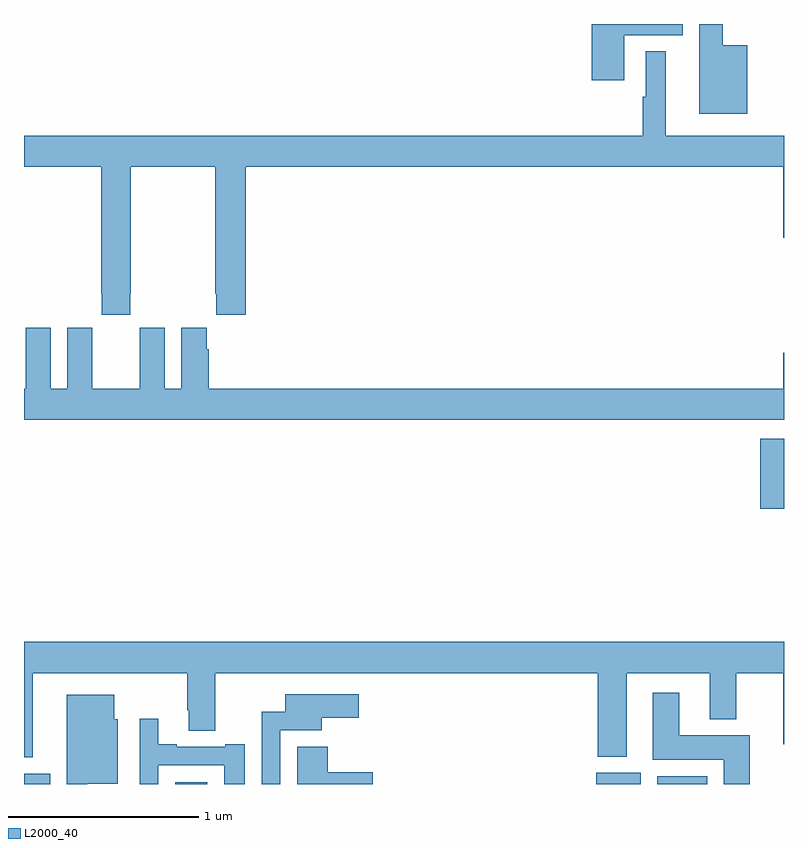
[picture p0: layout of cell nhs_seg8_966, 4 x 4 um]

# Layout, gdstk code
import gdstk
lib = gdstk.Library(unit=1e-6, precision=1e-09)
def R(c, l, rs):  # rectangles x0, y0, x1, y1
    for r in rs: c.add(gdstk.rectangle(r[:2], r[2:], *l))
def P(c, l, *ps):  # polygons
    for p in ps: c.add(gdstk.Polygon(p, *l))
L2000_40 = (2000, 40)

nhs_seg8_966 = lib.new_cell('nhs_seg8_966')
R(nhs_seg8_966, L2000_40, [(173,1131.9,173.137,1131.955), (173.795,1131.9,173.965,1131.91), (176.012,1131.9,176.245,1131.958), (176.333,1131.9,176.596,1131.94), (176.876,1133.348,177,1133.716)])
P(nhs_seg8_966, L2000_40, [(176.806,1135.789),(176.677,1135.789),(176.677,1135.9),(176.555,1135.9),(176.555,1135.427),(176.806,1135.427)],
  [(176.158,1135.841),(176.467,1135.841),(176.467,1135.9),(175.988,1135.9),(175.988,1135.605),(176.158,1135.605)],
  [(173.559,1134.481),(173.562,1134.481),(173.562,1135.148),(174.007,1135.148),(174.007,1134.481),(174.013,1134.481),(174.013,1134.369),(174.167,1134.369),(174.167,1135.148),(176.996,1135.148),(176.996,1134.774),(177,1134.774),(177,1135.312),(176.377,1135.312),(176.377,1135.756),(176.273,1135.756),(176.273,1135.517),(176.256,1135.517),(176.256,1135.312),(173,1135.312),(173,1135.148),(173.407,1135.148),(173.407,1134.481),(173.409,1134.481),(173.409,1134.369),(173.559,1134.369)],
  [(177,1134.169),(176.996,1134.169),(176.996,1133.98),(173.972,1133.98),(173.972,1134.188),(173.962,1134.188),(173.962,1134.301),(173.828,1134.301),(173.828,1133.98),(173.74,1133.98),(173.74,1134.301),(173.61,1134.301),(173.61,1134.188),(173.609,1134.188),(173.609,1133.98),(173.359,1133.98),(173.359,1134.188),(173.358,1134.188),(173.358,1134.301),(173.228,1134.301),(173.228,1133.98),(173.14,1133.98),(173.14,1134.301),(173.01,1134.301),(173.01,1134.188),(173.009,1134.188),(173.009,1133.98),(173,1133.98),(173,1133.816),(177,1133.816)],
  [(173.047,1132.484),(173.86,1132.484),(173.86,1132.288),(173.867,1132.288),(173.867,1132.18),(174.007,1132.18),(174.007,1132.484),(176.021,1132.484),(176.021,1132.043),(176.173,1132.043),(176.173,1132.484),(176.609,1132.484),(176.609,1132.241),(176.749,1132.241),(176.749,1132.484),(176.996,1132.484),(176.996,1132.11),(177,1132.11),(177,1132.648),(173,1132.648),(173,1132.04),(173.047,1132.04)],
  [(176.819,1132.156),(176.449,1132.156),(176.449,1132.381),(176.309,1132.381),(176.309,1132.028),(176.684,1132.028),(176.684,1131.9),(176.819,1131.9)],
  [(174.348,1132.182),(174.568,1132.182),(174.568,1132.25),(174.763,1132.25),(174.763,1132.372),(174.374,1132.372),(174.374,1132.28),(174.252,1132.28),(174.252,1131.9),(174.348,1131.9)],
  [(173.332,1131.902),(173.494,1131.902),(173.494,1132.242),(173.476,1132.242),(173.476,1132.369),(173.225,1132.369),(173.225,1131.9),(173.332,1131.9)],
  [(173.706,1131.999),(174.053,1131.999),(174.053,1131.9),(174.163,1131.9),(174.163,1132.108),(174.059,1132.108),(174.059,1132.095),(173.803,1132.095),(173.803,1132.108),(173.707,1132.108),(173.707,1132.243),(173.61,1132.243),(173.61,1131.9),(173.706,1131.9)],
  [(174.835,1131.961),(174.599,1131.961),(174.599,1132.096),(174.437,1132.096),(174.437,1131.9),(174.835,1131.9)])

lib.write_gds('nhs_seg8_966.gds')
